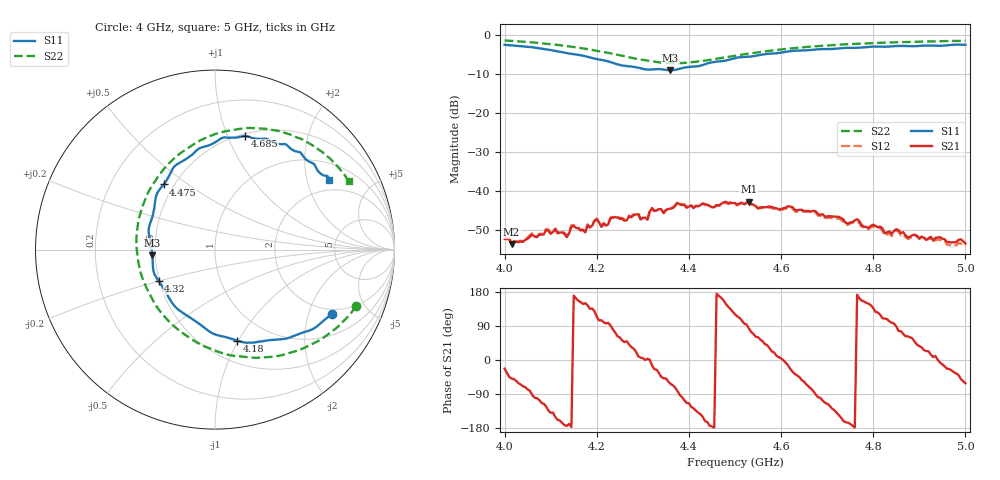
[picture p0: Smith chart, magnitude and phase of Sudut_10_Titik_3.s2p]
# Hz S RI R 50
! CMT, C1220, 16058040, 17.2.0/1
! Date: 15/08/2018 12:36:41
! Data: Format (Calibration Info)
! Freq  S11: Re/Im (F2)  S21: Re/Im (F2)  S12: Re/Im (F2)  S22: Re/Im (F2)
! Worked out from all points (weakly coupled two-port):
!   201 points, 4 GHz to 5 GHz, reference 50 ohm
!   highest |S21| = -42.78 dB at 4.53 GHz (marker M1); lowest = -53.8 dB at 4.015 GHz (marker M2)
!   lowest |S11| = -9.1 dB at 4.36 GHz (marker M3), VSWR 2.08, Z = 24.1 - j1.7 ohm
!   |S11| at or under -10 dB: nowhere
!   |S22| runs from -7.3 to -1.4 dB; largest |S21 - S12| = 0.00029
!   S11 on the Smith chart (normalised r, x): 4 GHz: 1.78, -2.88; 4.18 GHz: 0.71, -0.99; 4.32 GHz: 0.49, -0.20; 4.475 GHz: 0.44, +0.41; 4.685 GHz: 0.52, +1.16; 5 GHz: 1.57, +2.74
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4e9  0.653 -0.3593  0.00221 -0.000943  0.00228 -0.000902  0.7851 -0.3165
4.015e9  0.6273 -0.3775  0.00134 -0.00154  0.00144 -0.0016  0.7597 -0.3512
4.09e9  0.4379 -0.4817  -0.00167 -0.00262  -0.00162 -0.00279  0.5817 -0.5052
4.135e9  0.2874 -0.5071  -0.00252 -0.000262  -0.00259 -0.000359  0.4334 -0.5705
4.145e9  0.2481 -0.5127  -0.00345 -0.00019  -0.00359 -0.000274  0.3954 -0.5821
4.17e9  0.1574 -0.5163  -0.00265 0.00166  -0.00269 0.00166  0.2992 -0.5989
4.18e9  0.1243 -0.5075  -0.00292 0.00208  -0.00303 0.00209  0.2568 -0.6013
4.29e9  -0.2441 -0.2891  0.00492 0.000858  0.00509 0.000846  -0.212 -0.4404
4.31e9  -0.289 -0.2115  0.00423 0.000244  0.00432 0.000241  -0.2834 -0.3704
4.32e9  -0.3146 -0.175  0.00575 -0.00147  0.00581 -0.00154  -0.3166 -0.3301
4.335e9  -0.3415 -0.1251  0.00478 -0.0033  0.0047 -0.00337  -0.356 -0.2632
4.36e9  -0.3487 -0.031  0.00268 -0.00525  0.00269 -0.0053  -0.4095 -0.1452
4.375e9  -0.3586 0.0378  0.00101 -0.00689  0.000984 -0.00706  -0.4273 -0.0697
4.41e9  -0.3589 0.1522  -0.00365 -0.00474  -0.00382 -0.00468  -0.4339 0.1058
4.475e9  -0.2863 0.3633  -0.00655 0.00267  -0.00639 0.00284  -0.3319 0.3842
4.5e9  -0.2405 0.4406  -0.00354 0.00597  -0.00346 0.00591  -0.271 0.465
4.53e9  -0.1854 0.4898  0.000849 0.00722  0.000941 0.00709  -0.1862 0.5417
4.55e9  -0.1271 0.5289  0.00301 0.00519  0.0031 0.00502  -0.1269 0.5817
4.67e9  0.1419 0.6284  0.000758 -0.00545  0.000657 -0.00529  0.2121 0.6771
4.685e9  0.1679 0.6329  -0.000822 -0.00481  -0.000776 -0.0047  0.2516 0.6751
4.835e9  0.4444 0.5492  -0.000617 0.00294  -0.000596 0.00275  0.5547 0.5731
5e9  0.6353 0.3882  0.00101 -0.00184  0.000972 -0.00168  0.7478 0.3795
